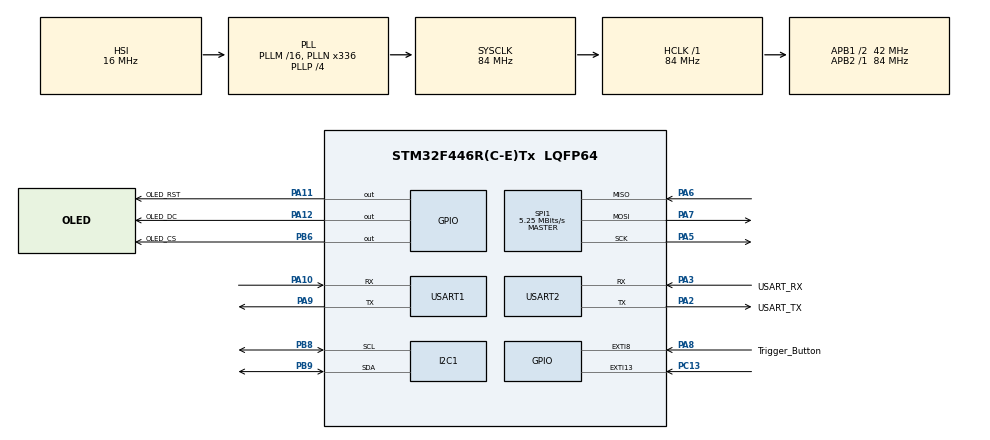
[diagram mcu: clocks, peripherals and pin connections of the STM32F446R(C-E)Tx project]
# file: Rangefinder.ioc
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I2C1.I2C_Mode=I2C_Fast
Mcu.Family=STM32F4
Mcu.Name=STM32F446R(C-E)Tx
Mcu.Package=LQFP64
NUCLEO-F446RE.BUTTON=1
NUCLEO-F446RE.LD1=true
NVIC.EXTI15_10_IRQn=true\:0\:0\:false\:false\:true\:true\:true\:true
NVIC.EXTI9_5_IRQn=true\:0\:0\:false\:false\:true\:true\:true\:true
NVIC.PriorityGroup=NVIC_PRIORITYGROUP_0
PA10.Mode=Asynchronous
PA10.Signal=USART1_RX
PA11.GPIO_Label=OLED_RST
PA11.Signal=GPIO_Output
PA12.GPIO_Label=OLED_DC
PA12.Signal=GPIO_Output
PA2.GPIO_Label=USART_TX
PA2.Mode=Asynchronous
PA2.Signal=USART2_TX
PA3.GPIO_Label=USART_RX
PA3.Mode=Asynchronous
PA3.Signal=USART2_RX
PA5.Mode=Full_Duplex_Master
PA5.Signal=SPI1_SCK
PA6.Mode=Full_Duplex_Master
PA6.Signal=SPI1_MISO
PA7.Mode=Full_Duplex_Master
PA7.Signal=SPI1_MOSI
PA8.GPIO_Label=Trigger_Button
PA8.GPIO_ModeDefaultEXTI=GPIO_MODE_IT_RISING_FALLING
PA8.GPIO_PuPd=GPIO_PULLUP
PA8.Signal=GPXTI8
PA9.Mode=Asynchronous
PA9.Signal=USART1_TX
PB6.GPIO_Label=OLED_CS
PB6.Signal=GPIO_Output
PB8.Mode=I2C
PB8.Signal=I2C1_SCL
PB9.Mode=I2C
PB9.Signal=I2C1_SDA
PC13.Signal=GPXTI13
PH0-OSC_IN.Mode=HSE-External-Oscillator
PH0-OSC_IN.Signal=RCC_OSC_IN
PH1-OSC_OUT.Mode=HSE-External-Oscillator
PH1-OSC_OUT.Signal=RCC_OSC_OUT
ProjectManager.HeapSize=0x200
ProjectManager.StackSize=0x400
ProjectManager.TargetToolchain=STM32CubeIDE
RCC.AHBFreq_Value=84000000
RCC.APB1CLKDivider=RCC_HCLK_DIV2
RCC.APB1Freq_Value=42000000
RCC.APB1TimFreq_Value=84000000
RCC.APB2Freq_Value=84000000
RCC.APB2TimFreq_Value=84000000
RCC.CortexFreq_Value=84000000
RCC.FLatency-AdvancedSettings=FLASH_LATENCY_2
RCC.HCLKFreq_Value=84000000
RCC.HSE_VALUE=8000000
RCC.HSI_VALUE=16000000
RCC.LSE_VALUE=32768
RCC.PLLN=336
RCC.PLLP=RCC_PLLP_DIV4
RCC.SYSCLKFreq_VALUE=84000000
RCC.SYSCLKSource=RCC_SYSCLKSOURCE_PLLCLK
RCC.USBFreq_Value=168000000
RCC.VCOOutputFreq_Value=336000000
SPI1.BaudRatePrescaler=SPI_BAUDRATEPRESCALER_16
SPI1.CLKPhase=SPI_PHASE_2EDGE
SPI1.CLKPolarity=SPI_POLARITY_HIGH
SPI1.CalculateBaudRate=5.25 MBits/s
SPI1.Direction=SPI_DIRECTION_2LINES
SPI1.Mode=SPI_MODE_MASTER
SPI1.VirtualType=VM_MASTER
USART1.VirtualMode=VM_ASYNC
USART2.VirtualMode=VM_ASYNC
VP_NUCLEO-F446RE_VS_BSP_COMMON.Mode=COMMON
board=NUCLEO-F446RE

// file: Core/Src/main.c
/* USER CODE BEGIN Header */
/**
  ******************************************************************************
  * @file           : main.c
  * @brief          : Main program body
  ******************************************************************************
  * @attention
  *
  * Copyright (c) 2026 STMicroelectronics.
  * All rights reserved.
  *
  * This software is licensed under terms that can be found in the LICENSE file
  * in the root directory of this software component.
  * If no LICENSE file comes with this software, it is provided AS-IS.
  *
  ******************************************************************************
  */
/* USER CODE END Header */
#include "main.h"

/* USER CODE BEGIN Includes */
#include "lidar.h"
#include <stdio.h>
#include <stdlib.h>
#include <string.h>
#include <math.h>

#include "test.h"
#include "ui_panels.h"
/* USER CODE END Includes */

/* USER CODE BEGIN PTD */

/* Channel order inside one sample of the flat record array (same as the MPU FIFO order).
   Sample i lives at rec[i * CH_COUNT + CH_AX] ... rec[i * CH_COUNT + CH_GZ]. */
enum { CH_AX, CH_AY, CH_AZ, CH_GX, CH_GY, CH_GZ, CH_COUNT };

/* Two-state Kalman filter for one angle: state = [angle (deg), gyro bias (deg/s)] */
typedef struct
{
    float angle;
    float bias;
    float P[2][2];
} kf_t;

/* Unit quaternion (w, x, y, z) */
typedef struct
{
    float w, x, y, z;
} Quaternion;

/* USER CODE END PTD */

/* USER CODE BEGIN PD */
#define MPU6050_ADDR          (0x68 << 1)   /* 7-bit address shifted left */
#define MPU6050_WHO_AM_I      0x75
#define MPU6050_PWR_MGMT_1    0x6B
#define MPU6050_USER_CTRL     0x6A
#define MPU6050_SMPLRT_DIV    0x19
#define MPU6050_CONFIG        0x1A
#define MPU6050_GYRO_CONFIG   0x1B
#define MPU6050_FIFO_EN       0x23
#define MPU6050_FIFO_COUNT_H  0x72
#define MPU6050_FIFO_R_W      0x74
#define MPU6050_ACCEL_XOUT_H  0x3B

/* Sample rate set by the MPU's own clock. Must divide 1000 (1000, 500, 250, 200, 100...).
   1000 Hz needs I2C at 400 kHz. At 100 kHz stay at 500 Hz or below. */
#define SAMPLE_RATE_HZ        1000
#if (1000 % SAMPLE_RATE_HZ) != 0
#error "SAMPLE_RATE_HZ must divide 1000"
#endif

#define MPU6050_DLPF_CFG      0x02          /* 0x01 = 184 Hz, 0x02 = 98 Hz, 0x03 = 42 Hz gyro bandwidth */
#define MPU6050_GYRO_FS       0x08          /* 0x00 = +-250, 0x08 = +-500, 0x10 = +-1000, 0x18 = +-2000 dps */
#define GYRO_LSB_PER_DPS      65.5f         /* 131 for +-250, 65.5 for +-500, 32.8 for +-1000, 16.4 for +-2000 */
#define ACCEL_LSB_PER_G       16384.0f      /* default +-2 g range */

#define FIFO_SAMPLE_BYTES     12            /* accel XYZ + gyro XYZ, 2 bytes each */
#define MAX_SAMPLES           3000          /* 3 s at 1 kHz = 36 KB of RAM */

#define RAD2DEG               57.2957795f

/* dt used for integration. 0 = 1 / SAMPLE_RATE_HZ (from the MPU clock, recommended for short holds).
   1 = press-to-release time divided by the sample count (only worthwhile for long holds, because
   the HAL tick is 1 ms and the window ends are only known to a few ms). */
#define USE_MEASURED_DT       0

#define Short_Press_Length	  250           //Length of User Interface Logic Press

/* Kalman filter tuning (all angles in degrees) */
#define KF_Q_ANGLE            0.002f        /* deg^2/s   : gyro angle noise. Larger = trust accel more */
#define KF_Q_BIAS             0.0001f       /* (deg/s)^2/s : how fast the gyro bias may wander */
#define KF_R_ANGLE            0.5f          /* deg^2     : accel angle noise. Larger = trust accel less */
#define KF_P0_ANGLE           0.1f          /* initial angle uncertainty, deg^2 */
#define KF_P0_BIAS            0.01f         /* initial bias uncertainty, (deg/s)^2 */
#define ACCEL_GATE_G          0.1f          /* skip accel correction when | |a| - 1 g | is larger than this */
#define INIT_SAMPLES          20            /* samples averaged to get the start orientation */
/* USER CODE END PD */

I2C_HandleTypeDef hi2c1;

SPI_HandleTypeDef hspi1;

UART_HandleTypeDef huart1;
UART_HandleTypeDef huart2;

/* USER CODE BEGIN PV */
int16_t ax, ay, az, gx, gy, gz, temp_raw;
int32_t off_ax, off_ay, off_az, off_gx, off_gy, off_gz;

//button trigger
volatile uint32_t last_edge_tick = 0;
volatile uint8_t  edge_flag = 0;
static GPIO_PinState last_state;
//MPU6050
static uint8_t mpu_ok = 0;        /* 1 = MPU6050_Init succeeded */
static uint8_t calibrated = 0;    /* 1 = offsets measured, recording allowed */
//recording (flat array: ax, ay, az, gx, gy, gz, ax, ay, ...)
static int16_t  rec[MAX_SAMPLES * CH_COUNT];
static uint32_t rec_n = 0;          /* samples stored so far */
static uint32_t last_drain = 0;     /* tick of the last FIFO drain */
static uint8_t  recording = 0;
static uint8_t  rec_error = 0;      /* I2C failure or FIFO overflow: data has a gap */
static uint8_t  rec_full = 0;       /* RAM buffer filled up: data truncated */
//time between button press and release
uint32_t press_tick = 0;            /* HAL tick when recording started */
uint32_t release_tick = 0;          /* HAL tick when the release was confirmed */
uint32_t hold_ms = 0;               /* release_tick - press_tick */
//results (global so they can be watched in the debugger)
float res_roll0 = 0, res_roll1 = 0;
float res_pitch0 = 0, res_pitch1 = 0;
float res_yaw = 0;                  /* change in yaw, gyro only */
float res_total_deg = 0;            /* single angle between the start and end orientations */
float deg_total_rad = 0;
float distanceAB = 0;
//LiDAR distances (sensor units, see lidar.c), one per button event
uint16_t dist_press = 0, dist_release = 0;
static uint8_t dist_press_ok = 0, dist_release_ok = 0;   /* 1 = a frame was available */
/* USER CODE END PV */

void SystemClock_Config(void);
static void MX_GPIO_Init(void);
static void MX_I2C1_Init(void);
static void MX_USART2_UART_Init(void);
static void MX_USART1_UART_Init(void);
static void MX_SPI1_Init(void);

/* USER CODE BEGIN 0 */

static HAL_StatusTypeDef mpu_write(uint8_t reg, uint8_t val)
{
    return HAL_I2C_Mem_Write(&hi2c1, MPU6050_ADDR, reg,
                             I2C_MEMADD_SIZE_8BIT, &val, 1, 100);
}

/* Returns 0 on success, 1 = no I2C response, 2 = wake-up failed, 3 = filter write failed,
   4 = sample-rate write failed, 5 = gyro-range write failed, 6 = FIFO setup failed */
uint8_t MPU6050_Init(void)
{
    uint8_t who = 0;

    if (HAL_I2C_Mem_Read(&hi2c1, MPU6050_ADDR, MPU6050_WHO_AM_I,
                         I2C_MEMADD_SIZE_8BIT, &who, 1, 100) != HAL_OK)
        return 1;

    /* Wake the sensor and clock it from the gyro PLL (more accurate than the internal RC) */
    if (mpu_write(MPU6050_PWR_MGMT_1, 0x01) != HAL_OK) return 2;
    HAL_Delay(100);   /* let the PLL and gyro settle */

    /* Digital low-pass filter. With it enabled the gyro output rate is 1 kHz */
    if (mpu_write(MPU6050_CONFIG, MPU6050_DLPF_CFG) != HAL_OK) return 3;

    /* Sample rate = 1000 / (1 + SMPLRT_DIV) */
    if (mpu_write(MPU6050_SMPLRT_DIV, (uint8_t)(1000 / SAMPLE_RATE_HZ - 1)) != HAL_OK) return 4;

    if (mpu_write(MPU6050_GYRO_CONFIG, MPU6050_GYRO_FS) != HAL_OK) return 5;

    /* FIFO contents: accel XYZ + gyro XYZ (0x78). Order in the FIFO follows register order. */
    if (mpu_write(MPU6050_FIFO_EN, 0x78) != HAL_OK) return 6;

    return 0;
}

HAL_StatusTypeDef MPU6050_ReadAll(void)
{
    uint8_t buf[14];

    HAL_StatusTypeDef st = HAL_I2C_Mem_Read(&hi2c1, MPU6050_ADDR,
                                            MPU6050_ACCEL_XOUT_H,
                                            I2C_MEMADD_SIZE_8BIT, buf, 14, 100);
    if (st != HAL_OK) return st;

    ax       = (int16_t)(buf[0]  << 8 | buf[1]);
    ay       = (int16_t)(buf[2]  << 8 | buf[3]);
    az       = (int16_t)(buf[4]  << 8 | buf[5]);
    temp_raw = (int16_t)(buf[6]  << 8 | buf[7]);
    gx       = (int16_t)(buf[8]  << 8 | buf[9]);
    gy       = (int16_t)(buf[10] << 8 | buf[11]);
    gz       = (int16_t)(buf[12] << 8 | buf[13]);
    return HAL_OK;
}

void MPU6050_Calibrate(void)
{
    int32_t sax = 0, say = 0, saz = 0, sgx = 0, sgy = 0, sgz = 0;
    const int N = 200;

    UI_Data_t cal = {0};
    UI_ShowPanel(UI_PANEL_BOOTING, &cal);               // bar at 0%

    for (int i = 0; i < N; i++)
    {
        while (MPU6050_ReadAll() != HAL_OK) { }
        sax += ax; say += ay; saz += az;
        sgx += gx; sgy += gy; sgz += gz;
        HAL_Delay(5);

        if (i % 20 == 19)                               // 10 updates over the run
        {
            cal.progress_pct = (uint8_t)(((i + 1) * 100) / N);
            UI_ShowPanel(UI_PANEL_BOOTING, &cal);
        }
    }

    off_ax = sax / N;
    off_ay = say / N;
    off_az = saz / N - 16384;   // assumes the board is flat, so Z should read 1 g
    off_gx = sgx / N;
    off_gy = sgy / N;
    off_gz = sgz / N;
}

/* Clear the MPU FIFO and start collecting samples at SAMPLE_RATE_HZ */
static void fifo_start(void)
{
    mpu_write(MPU6050_USER_CTRL, 0x04);   /* FIFO_RESET (only works while FIFO is disabled) */
    mpu_write(MPU6050_USER_CTRL, 0x40);   /* FIFO_EN */
}

/* The FIFO cannot be read while disabled, so drain it first, then call this */
static void fifo_stop(void)
{
    mpu_write(MPU6050_USER_CTRL, 0x00);
}

/* Move everything currently in the MPU FIFO into the flat rec[] array.
   The MPU's own clock spaces the samples exactly 1/SAMPLE_RATE_HZ apart, no matter
   when this runs. It only has to run before the 1024-byte FIFO fills (~85 ms at 1 kHz). */
static void fifo_drain(void)
{
    uint8_t cnt[2];

    if (rec_error || rec_full) return;

    if (HAL_I2C_Mem_Read(&hi2c1, MPU6050_ADDR, MPU6050_FIFO_COUNT_H,
                         I2C_MEMADD_SIZE_8BIT, cnt, 2, 20) != HAL_OK)
    {
        rec_error = 1;
        return;
    }

    uint16_t bytes = ((uint16_t)cnt[0] << 8) | cnt[1];
    if (bytes >= 1024)          /* FIFO overflowed: old data was overwritten */
    {
        rec_error = 1;
        return;
    }

    uint16_t n = bytes / FIFO_SAMPLE_BYTES;   /* whole samples only, a partial one stays for next time */
    while (n > 0)
    {
        if (rec_n >= MAX_SAMPLES)
        {
            rec_full = 1;
            return;
        }

        uint8_t buf[FIFO_SAMPLE_BYTES * 8];
        uint16_t chunk = (n > 8) ? 8 : n;

        if (HAL_I2C_Mem_Read(&hi2c1, MPU6050_ADDR, MPU6050_FIFO_R_W,
                             I2C_MEMADD_SIZE_8BIT, buf, chunk * FIFO_SAMPLE_BYTES, 50) != HAL_OK)
        {
            rec_error = 1;
            return;
        }

        for (uint16_t i = 0; i < chunk && rec_n < MAX_SAMPLES; i++)
        {
            const uint8_t *p = &buf[i * FIFO_SAMPLE_BYTES];
            int16_t *s = &rec[rec_n * CH_COUNT];
            for (uint8_t c = 0; c < CH_COUNT; c++)
            {
                s[c] = (int16_t)((p[2 * c] << 8) | p[2 * c + 1]);
            }
            rec_n++;
        }
        n -= chunk;
    }
}

/* ---- Kalman filter -------------------------------------------------------- */

static void kf_init(kf_t *k, float angle0)
{
    k->angle = angle0;
    k->bias = 0.0f;               /* gyro offsets are already removed by the calibration */
    k->P[0][0] = KF_P0_ANGLE;
    k->P[0][1] = 0.0f;
    k->P[1][0] = 0.0f;
    k->P[1][1] = KF_P0_BIAS;
}

/* Predict step. The gyro rate is integrated with the trapezoidal rule:
   angle += dt * ( (rate_prev + rate_cur) / 2 - bias ) */
static void kf_predict(kf_t *k, float rate_prev, float rate_cur, float dt)
{
    float u = 0.5f * (rate_prev + rate_cur);
    k->angle += dt * (u - k->bias);

    /* P = F P F' + Q, with F = [1 -dt; 0 1] */
    float P00 = k->P[0][0], P01 = k->P[0][1], P10 = k->P[1][0], P11 = k->P[1][1];
    k->P[0][0] = P00 - dt * (P01 + P10) + dt * dt * P11 + KF_Q_ANGLE * dt;
    k->P[0][1] = P01 - dt * P11;
    k->P[1][0] = P10 - dt * P11;
    k->P[1][1] = P11 + KF_Q_BIAS * dt;
}

/* Update step with an angle measured from the accelerometer (H = [1 0]) */
static void kf_update(kf_t *k, float meas_angle)
{
    float y = meas_angle - k->angle;
    if (y > 180.0f)       y -= 360.0f;     /* handle the +-180 degree wrap of atan2 */
    else if (y < -180.0f) y += 360.0f;

    float S  = k->P[0][0] + KF_R_ANGLE;
    float K0 = k->P[0][0] / S;
    float K1 = k->P[1][0] / S;

    k->angle += K0 * y;
    k->bias  += K1 * y;

    float P00 = k->P[0][0], P01 = k->P[0][1];
    k->P[0][0] -= K0 * P00;
    k->P[0][1] -= K0 * P01;
    k->P[1][0] -= K1 * P00;
    k->P[1][1] -= K1 * P01;
}

/* ---- Orientation change as a single angle (quaternions) ------------------- */

/* Intrinsic ZYX Euler angles (yaw about Z, pitch about Y, roll about X) to a quaternion */
static Quaternion euler_to_quaternion(float yaw_deg, float pitch_deg, float roll_deg)
{
    float r = roll_deg  * (0.5f / RAD2DEG);   /* half angles, in radians */
    float p = pitch_deg * (0.5f / RAD2DEG);
    float y = yaw_deg   * (0.5f / RAD2DEG);

    float cr = cosf(r), sr = sinf(r);
    float cp = cosf(p), sp = sinf(p);
    float cy = cosf(y), sy = sinf(y);

    Quaternion q;
    q.w = cr * cp * cy + sr * sp * sy;
    q.x = sr * cp * cy - cr * sp * sy;
    q.y = cr * sp * cy + sr * cp * sy;
    q.z = cr * cp * sy - sr * sp * cy;
    return q;
}

/* Conjugate (the inverse, for a unit quaternion) */
static Quaternion quaternion_conjugate(Quaternion q)
{
    Quaternion c = { q.w, -q.x, -q.y, -q.z };
    return c;
}

/* q = q1 * q2 */
static Quaternion quaternion_multiply(Quaternion q1, Quaternion q2)
{
    Quaternion q;
    q.w = q1.w * q2.w - q1.x * q2.x - q1.y * q2.y - q1.z * q2.z;
    q.x = q1.w * q2.x + q1.x * q2.w + q1.y * q2.z - q1.z * q2.y;
    q.y = q1.w * q2.y - q1.x * q2.z + q1.y * q2.w + q1.z * q2.x;
    q.z = q1.w * q2.z + q1.x * q2.y - q1.y * q2.x + q1.z * q2.w;
    return q;
}

/* Total rotation angle in degrees between two orientations: the angle of q1^-1 * q2 */
static float calculate_angle_change(float yaw1, float pitch1, float roll1,
                                    float yaw2, float pitch2, float roll2)
{
    Quaternion q1 = euler_to_quaternion(yaw1, pitch1, roll1);
    Quaternion q2 = euler_to_quaternion(yaw2, pitch2, roll2);
    Quaternion d  = quaternion_multiply(quaternion_conjugate(q1), q2);

    /* 2 * atan2(|vector part|, |w|) gives the same angle as 2 * acos(|w|), but acos loses
       precision for small angles in 32-bit float. No clamping of w is needed either. */
    float v = sqrtf(d.x * d.x + d.y * d.y + d.z * d.z);
    return 2.0f * atan2f(v, fabsf(d.w)) * RAD2DEG;
}

/* Runs the filter over the whole recording and fills the res_* variables.
   Roll (about X) and pitch (about Y): gyro prediction + accelerometer correction.
   Yaw (about Z): gyro only, gravity gives no yaw reference. */
static void estimate_angles(void)
{
    float dt = 1.0f / SAMPLE_RATE_HZ;
#if USE_MEASURED_DT
    if (!rec_full && hold_ms > 0)
    {
        dt = ((float)hold_ms / 1000.0f) / (float)rec_n;
    }
#endif

    const float gk = 1.0f / GYRO_LSB_PER_DPS;     /* raw -> deg/s */
    const float ak = 1.0f / ACCEL_LSB_PER_G;      /* raw -> g */

    /* Start orientation: average the accelerometer over the first few samples */
    uint32_t n0 = (rec_n < INIT_SAMPLES) ? rec_n : INIT_SAMPLES;
    float sx = 0.0f, sy = 0.0f, sz = 0.0f;
    for (uint32_t i = 0; i < n0; i++)
    {
        const int16_t *s = &rec[i * CH_COUNT];
        sx += (float)(s[CH_AX] - off_ax);
        sy += (float)(s[CH_AY] - off_ay);
        sz += (float)(s[CH_AZ] - off_az);
    }
    sx /= (float)n0; sy /= (float)n0; sz /= (float)n0;

    float roll0  = atan2f(sy, sz) * RAD2DEG;
    float pitch0 = atan2f(-sx, sqrtf(sy * sy + sz * sz)) * RAD2DEG;

    kf_t kr, kp;
    kf_init(&kr, roll0);
    kf_init(&kp, pitch0);
    float yaw = 0.0f;

    /* Rates of the previous sample (needed for the trapezoid). Sample 0 is the start state. */
    const int16_t *s0 = &rec[0];
    float gx_prev = (float)(s0[CH_GX] - off_gx) * gk;
    float gy_prev = (float)(s0[CH_GY] - off_gy) * gk;
    float gz_prev = (float)(s0[CH_GZ] - off_gz) * gk;

    for (uint32_t i = 1; i < rec_n; i++)
    {
        const int16_t *s = &rec[i * CH_COUNT];

        float gxr = (float)(s[CH_GX] - off_gx) * gk;
        float gyr = (float)(s[CH_GY] - off_gy) * gk;
        float gzr = (float)(s[CH_GZ] - off_gz) * gk;

        /* Predict: trapezoidal integration of the gyro */
        kf_predict(&kr, gx_prev, gxr, dt);
        kf_predict(&kp, gy_prev, gyr, dt);
        yaw += 0.5f * (gz_prev + gzr) * dt;

        /* Correct: only when the board is not accelerating (|a| close to 1 g) */
        float axg = (float)(s[CH_AX] - off_ax) * ak;
        float ayg = (float)(s[CH_AY] - off_ay) * ak;
        float azg = (float)(s[CH_AZ] - off_az) * ak;
        float amag = sqrtf(axg * axg + ayg * ayg + azg * azg);

        if (fabsf(amag - 1.0f) < ACCEL_GATE_G)
        {
            kf_update(&kr, atan2f(ayg, azg) * RAD2DEG);
            kf_update(&kp, atan2f(-axg, sqrtf(ayg * ayg + azg * azg)) * RAD2DEG);
        }

        gx_prev = gxr;
        gy_prev = gyr;
        gz_prev = gzr;
    }

    res_roll0  = roll0;
    res_roll1  = kr.angle;
    res_pitch0 = pitch0;
    res_pitch1 = kp.angle;
    res_yaw    = yaw;

    /* Start orientation: yaw 0 (yaw is relative), end orientation: filtered roll/pitch + yaw change */

    float yaw_end = yaw;
    res_total_deg = calculate_angle_change(0.0f, res_pitch0, res_roll0,
                                           yaw_end, res_pitch1, res_roll1);
}

/* Prints a float as degrees with 2 decimals (nano newlib has no %f) */
static void fmt_deg(char *out, size_t n, float deg)
{
    long c = (long)(deg * 100.0f);   // centi-degrees
    snprintf(out, n, "%s%ld.%02ld", (c < 0) ? "-" : "", labs(c) / 100, labs(c) % 100);
}

static void distanceAB_calc(unsigned dist_press, unsigned dist_release, float res_total_deg)
{
	deg_total_rad = res_total_deg * (3.141592653589793 / 180);
	distanceAB = sqrt(pow(dist_press, 2) + pow(dist_release, 2) - (2 * dist_press * dist_release * cos(deg_total_rad)));
//    long c = (long)(deg * 100.0f);   // centi-degrees
//    snprintf(out, n, "%s%ld.%02ld", (c < 0) ? "-" : "", labs(c) / 100, labs(c) % 100);
}

/* Prints the two LiDAR distances captured at press and release */
/* Prints LiDAR distance(s). press_type: 0 = short press, 1 = long press */
/* Prints LiDAR distance(s). press_type: 0 = short press, 1 = long press */
static void report_distance(int press_type)
{
    char buf[128];
    int len = 0;

    if (press_type == 0)   // Short press: press distance only
    {
        if (dist_press_ok)
        {
        	UI_Data_t ui = {0};
			ui.distance_cm = (int32_t)dist_press;
			UI_ShowPanel(UI_PANEL_DIST_TARGET, &ui);

			len = snprintf(buf, sizeof(buf), "Distance:%u cm\r\n", (unsigned)dist_press);
        }
        else
            len = snprintf(buf, sizeof(buf), "LiDAR: no frame\r\n");
    }
    else if (press_type == 1)   // Long press: both distances
    {
        if (dist_press_ok && dist_release_ok)
        {
            //
            char a[16]; //, b[16], c[16];

            if (rec_error)
            {
                len = snprintf(buf, sizeof(buf), "ERROR: FIFO overflow or I2C failure, recording invalid\r\n");
                HAL_UART_Transmit(&huart2, (uint8_t*)buf, len, 100);
                return;
            }

            if (rec_n < 2)
            {
                len = snprintf(buf, sizeof(buf), "Recording too short (%lu samples)\r\n", (unsigned long)rec_n);
                HAL_UART_Transmit(&huart2, (uint8_t*)buf, len, 100);
                return;
            }

            estimate_angles();

        //    len = snprintf(buf, sizeof(buf), "Hold:%lu ms  Samples:%lu (%lu ms at %d Hz)%s\r\n",
        //                   (unsigned long)hold_ms,
        //                   (unsigned long)rec_n,
        //                   (unsigned long)(rec_n * 1000UL / SAMPLE_RATE_HZ),
        //                   SAMPLE_RATE_HZ,
        //                   rec_full ? "  BUFFER FULL, truncated" : "");
        //    HAL_UART_Transmit(&huart2, (uint8_t*)buf, len, 100);
        //
        //    fmt_deg(a, sizeof(a), res_roll0);
        //    fmt_deg(b, sizeof(b), res_roll1);
        //    fmt_deg(c, sizeof(c), res_roll1 - res_roll0);
        //    len = snprintf(buf, sizeof(buf), "Roll  start:%s end:%s delta:%s deg\r\n", a, b, c);
        //    HAL_UART_Transmit(&huart2, (uint8_t*)buf, len, 100);
        //
        //    fmt_deg(a, sizeof(a), res_pitch0);
        //    fmt_deg(b, sizeof(b), res_pitch1);
        //    fmt_deg(c, sizeof(c), res_pitch1 - res_pitch0);
        //    len = snprintf(buf, sizeof(buf), "Pitch start:%s end:%s delta:%s deg\r\n", a, b, c);
        //    HAL_UART_Transmit(&huart2, (uint8_t*)buf, len, 100);
        //
        //    fmt_deg(a, sizeof(a), res_yaw);
        //    len = snprintf(buf, sizeof(buf), "Yaw   delta:%s deg (gyro only)\r\n", a);
        //    HAL_UART_Transmit(&huart2, (uint8_t*)buf, len, 100);

            fmt_deg(a, sizeof(a), res_total_deg);
            distanceAB_calc(dist_press, dist_release, res_total_deg);

            UI_Data_t ui = {0};
            ui.target_a_cm = (int32_t)dist_press;
            ui.target_b_cm = (int32_t)dist_release;
            ui.between_cm  = (int32_t)(distanceAB + 0.5f);   // +0.5 rounds instead of cutting off
            UI_ShowPanel(UI_PANEL_DIST_BETWEEN, &ui);

			len = snprintf(buf, sizeof(buf), "Angle Change: %s deg\r\n", a);
            HAL_UART_Transmit(&huart2, (uint8_t*)buf, len, 100);

            len = snprintf(buf, sizeof(buf), "Distance from A to B: %u cm\r\nDistance A: %u cm\r\nDistance B: %u cm\r\n",
                           (unsigned)distanceAB, (unsigned)dist_press, (unsigned)dist_release);
        }
        else
            len = snprintf(buf, sizeof(buf), "LiDAR: no frames received\r\n");
    }

    if (len > 0)
        HAL_UART_Transmit(&huart2, (uint8_t*)buf, len, 100);
}

/* USER CODE END 0 */

int main(void)
{

  /* MCU Configuration--------------------------------------------------------*/

  /* Reset of all peripherals, Initializes the Flash interface and the Systick. */
  HAL_Init();

  /* Configure the system clock */
  SystemClock_Config();

  /* Initialize all configured peripherals */
  MX_GPIO_Init();
  MX_I2C1_Init();
  MX_USART2_UART_Init();
  MX_USART1_UART_Init();
  MX_SPI1_Init();
  /* USER CODE BEGIN 2 */
  //UI_Test_Cycle();   /* TEMP: cycles all 9 UI panels forever; replace with the real state machine */
  UI_Init();
  //UI_Data_t = {0};
  UI_ShowPanel(UI_PANEL_AGAIN, NULL);
  HAL_Delay(5000);

  UI_ShowPanel(UI_PANEL_BOOTING, NULL);   // prompt text with an empty bar

  //Trigger Button
  last_state = HAL_GPIO_ReadPin(Trigger_Button_GPIO_Port, Trigger_Button_Pin);
  //LiDAR (USART1 receive interrupt)
  lidar_init();

  //MPU6050
  uint8_t status = MPU6050_Init();
  if (status != 0)
  {
      char err[32];
      int n = snprintf(err, sizeof(err), "MPU init failed: %d\r\n", status);
      HAL_UART_Transmit(&huart2, (uint8_t*)err, n, 100);
  }
  else
  {
      mpu_ok = 1;

      char rdy[] = "Press the button to calibrate (keep the board flat and still).\r\n";
      HAL_UART_Transmit(&huart2, (uint8_t*)rdy, sizeof(rdy) - 1, 100);
  }
  /* USER CODE END 2 */

  /* Initialize leds */
  //BSP_LED_Init(LED2);

  /* Initialize USER push-button, will be used to trigger an interrupt each time it's pressed.*/
  //BSP_PB_Init(BUTTON_USER, BUTTON_MODE_EXTI);

  /* Infinite loop */
  /* USER CODE BEGIN WHILE */
  HAL_SPI_MspInit(&hspi1);   // BSP_LED_Init took PA5 (SCK) away from SPI1; give it back
  while (1)
  {
    /* USER CODE END WHILE */

    /* USER CODE BEGIN 3 */
    // While recording, empty the MPU FIFO every 5 ms (it holds ~85 ms at 1 kHz).
    if (recording && (HAL_GetTick() - last_drain) >= 5)
    {
        last_drain = HAL_GetTick();
        fifo_drain();
    }

    if (edge_flag && (HAL_GetTick() - last_edge_tick) >= 20)  // 20 ms settle time
    {
        edge_flag = 0;
        GPIO_PinState state = HAL_GPIO_ReadPin(Trigger_Button_GPIO_Port, Trigger_Button_Pin);

        if (state != last_state)   // real change, not just bounce
        {
            last_state = state;

            if (state == GPIO_PIN_RESET)
            {
            	if (!calibrated)
            	    {
            	        // FIRST press: calibrate instead of recording
            	        if (!mpu_ok)
            	        {
            	            HAL_UART_Transmit(&huart2, (uint8_t*)"MPU not ready\r\n", 15, 100);
            	        }
            	        else
            	        {
            	            HAL_UART_Transmit(&huart2, (uint8_t*)"Calibrating, keep still...\r\n", 28, 100);
            	            HAL_Delay(300);                 // let the board settle after the click
            	            MPU6050_Calibrate();            // ~1 s
            	            calibrated = 1;

            	            edge_flag = 0;                  // forget any bounce or release seen during calibration
            	            last_state = HAL_GPIO_ReadPin(Trigger_Button_GPIO_Port, Trigger_Button_Pin);

            	            UI_ShowPanel(UI_PANEL_READY, NULL);
            	            HAL_UART_Transmit(&huart2, (uint8_t*)"Calibrated. Hold the button to record.\r\n", 40, 100);
            	        }
            	    }
            	else
            	{
					// FALLING edge: button pressed (active low) -> start recording
					dist_press_ok = lidar_get_distance(&dist_press);   // LiDAR reading at press
					rec_n = 0;
					rec_error = 0;
					rec_full = 0;
					fifo_start();
					press_tick = HAL_GetTick();
					last_drain = press_tick;
					recording = 1;

					UI_ShowPanel(UI_PANEL_CROSSHAIR_TWO, NULL);

					char msg[] = "\n\n\n\nRecording...\r\n";
					HAL_UART_Transmit(&huart2, (uint8_t*)msg, sizeof(msg) - 1, 100);
            	}
            }
            else if (recording)
            {
                // RISING edge: button released get timing
                release_tick = HAL_GetTick();
                hold_ms = release_tick - press_tick;
                fifo_drain();
                fifo_stop();
                recording = 0;

                if (hold_ms <= Short_Press_Length)
                {
                    // SHORT: 1 target (press only)
                    dist_release_ok = 0;        // no release reading, don't print stale one
                    report_distance(0);
                }
                else
                {
                    // LONG: 2 targets + AB distance + angle change
                    dist_release_ok = lidar_get_distance(&dist_release);
                    //report_recording();
                    report_distance(1);
                }
            }
        }
    }
  }
  /* USER CODE END 3 */
}

void SystemClock_Config(void)
{
  RCC_OscInitTypeDef RCC_OscInitStruct = {0};
  RCC_ClkInitTypeDef RCC_ClkInitStruct = {0};

  /** Configure the main internal regulator output voltage
  */
  __HAL_RCC_PWR_CLK_ENABLE();
  __HAL_PWR_VOLTAGESCALING_CONFIG(PWR_REGULATOR_VOLTAGE_SCALE3);

  /** Initializes the RCC Oscillators according to the specified parameters
  * in the RCC_OscInitTypeDef structure.
  */
  RCC_OscInitStruct.OscillatorType = RCC_OSCILLATORTYPE_HSI;
  RCC_OscInitStruct.HSIState = RCC_HSI_ON;
  RCC_OscInitStruct.HSICalibrationValue = RCC_HSICALIBRATION_DEFAULT;
  RCC_OscInitStruct.PLL.PLLState = RCC_PLL_ON;
  RCC_OscInitStruct.PLL.PLLSource = RCC_PLLSOURCE_HSI;
  RCC_OscInitStruct.PLL.PLLM = 16;
  RCC_OscInitStruct.PLL.PLLN = 336;
  RCC_OscInitStruct.PLL.PLLP = RCC_PLLP_DIV4;
  RCC_OscInitStruct.PLL.PLLQ = 2;
  RCC_OscInitStruct.PLL.PLLR = 2;
  if (HAL_RCC_OscConfig(&RCC_OscInitStruct) != HAL_OK)
  {
    Error_Handler();
  }

  /** Initializes the CPU, AHB and APB buses clocks
  */
  RCC_ClkInitStruct.ClockType = RCC_CLOCKTYPE_HCLK|RCC_CLOCKTYPE_SYSCLK
                              |RCC_CLOCKTYPE_PCLK1|RCC_CLOCKTYPE_PCLK2;
  RCC_ClkInitStruct.SYSCLKSource = RCC_SYSCLKSOURCE_PLLCLK;
  RCC_ClkInitStruct.AHBCLKDivider = RCC_SYSCLK_DIV1;
  RCC_ClkInitStruct.APB1CLKDivider = RCC_HCLK_DIV2;
  RCC_ClkInitStruct.APB2CLKDivider = RCC_HCLK_DIV1;

  if (HAL_RCC_ClockConfig(&RCC_ClkInitStruct, FLASH_LATENCY_2) != HAL_OK)
  {
    Error_Handler();
  }
}

static void MX_I2C1_Init(void)
{

  hi2c1.Instance = I2C1;
  hi2c1.Init.ClockSpeed = 400000;
  hi2c1.Init.DutyCycle = I2C_DUTYCYCLE_2;
  hi2c1.Init.OwnAddress1 = 0;
  hi2c1.Init.AddressingMode = I2C_ADDRESSINGMODE_7BIT;
  hi2c1.Init.DualAddressMode = I2C_DUALADDRESS_DISABLE;
  hi2c1.Init.OwnAddress2 = 0;
  hi2c1.Init.GeneralCallMode = I2C_GENERALCALL_DISABLE;
  hi2c1.Init.NoStretchMode = I2C_NOSTRETCH_DISABLE;
  if (HAL_I2C_Init(&hi2c1) != HAL_OK)
  {
    Error_Handler();
  }

}

static void MX_SPI1_Init(void)
{

  /* SPI1 parameter configuration*/
  hspi1.Instance = SPI1;
  hspi1.Init.Mode = SPI_MODE_MASTER;
  hspi1.Init.Direction = SPI_DIRECTION_2LINES;
  hspi1.Init.DataSize = SPI_DATASIZE_8BIT;
  hspi1.Init.CLKPolarity = SPI_POLARITY_HIGH;
  hspi1.Init.CLKPhase = SPI_PHASE_2EDGE;
  hspi1.Init.NSS = SPI_NSS_SOFT;
  hspi1.Init.BaudRatePrescaler = SPI_BAUDRATEPRESCALER_16;
  hspi1.Init.FirstBit = SPI_FIRSTBIT_MSB;
  hspi1.Init.TIMode = SPI_TIMODE_DISABLE;
  hspi1.Init.CRCCalculation = SPI_CRCCALCULATION_DISABLE;
  hspi1.Init.CRCPolynomial = 10;
  if (HAL_SPI_Init(&hspi1) != HAL_OK)
  {
    Error_Handler();
  }

}

static void MX_USART1_UART_Init(void)
{

  huart1.Instance = USART1;
  huart1.Init.BaudRate = 115200;
  huart1.Init.WordLength = UART_WORDLENGTH_8B;
  huart1.Init.StopBits = UART_STOPBITS_1;
  huart1.Init.Parity = UART_PARITY_NONE;
  huart1.Init.Mode = UART_MODE_TX_RX;
  huart1.Init.HwFlowCtl = UART_HWCONTROL_NONE;
  huart1.Init.OverSampling = UART_OVERSAMPLING_16;
  if (HAL_UART_Init(&huart1) != HAL_OK)
  {
    Error_Handler();
  }

}

static void MX_USART2_UART_Init(void)
{

  huart2.Instance = USART2;
  huart2.Init.BaudRate = 115200;
  huart2.Init.WordLength = UART_WORDLENGTH_8B;
  huart2.Init.StopBits = UART_STOPBITS_1;
  huart2.Init.Parity = UART_PARITY_NONE;
  huart2.Init.Mode = UART_MODE_TX_RX;
  huart2.Init.HwFlowCtl = UART_HWCONTROL_NONE;
  huart2.Init.OverSampling = UART_OVERSAMPLING_16;
  if (HAL_UART_Init(&huart2) != HAL_OK)
  {
    Error_Handler();
  }

}

static void MX_GPIO_Init(void)
{
  GPIO_InitTypeDef GPIO_InitStruct = {0};

  /* GPIO Ports Clock Enable */
  __HAL_RCC_GPIOH_CLK_ENABLE();
  __HAL_RCC_GPIOA_CLK_ENABLE();
  __HAL_RCC_GPIOB_CLK_ENABLE();

  /*Configure GPIO pin Output Level */
  HAL_GPIO_WritePin(GPIOA, OLED_RST_Pin|OLED_DC_Pin, GPIO_PIN_RESET);

  /*Configure GPIO pin Output Level */
  HAL_GPIO_WritePin(OLED_CS_GPIO_Port, OLED_CS_Pin, GPIO_PIN_RESET);

  /*Configure GPIO pin : Trigger_Button_Pin */
  GPIO_InitStruct.Pin = Trigger_Button_Pin;
  GPIO_InitStruct.Mode = GPIO_MODE_IT_RISING_FALLING;
  GPIO_InitStruct.Pull = GPIO_PULLUP;
  HAL_GPIO_Init(Trigger_Button_GPIO_Port, &GPIO_InitStruct);

  /*Configure GPIO pins : OLED_RST_Pin OLED_DC_Pin */
  GPIO_InitStruct.Pin = OLED_RST_Pin|OLED_DC_Pin;
  GPIO_InitStruct.Mode = GPIO_MODE_OUTPUT_PP;
  GPIO_InitStruct.Pull = GPIO_NOPULL;
  GPIO_InitStruct.Speed = GPIO_SPEED_FREQ_LOW;
  HAL_GPIO_Init(GPIOA, &GPIO_InitStruct);

  /*Configure GPIO pin : OLED_CS_Pin */
  GPIO_InitStruct.Pin = OLED_CS_Pin;
  GPIO_InitStruct.Mode = GPIO_MODE_OUTPUT_PP;
  GPIO_InitStruct.Pull = GPIO_NOPULL;
  GPIO_InitStruct.Speed = GPIO_SPEED_FREQ_LOW;
  HAL_GPIO_Init(OLED_CS_GPIO_Port, &GPIO_InitStruct);

  /* EXTI interrupt init*/
  HAL_NVIC_SetPriority(EXTI9_5_IRQn, 0, 0);
  HAL_NVIC_EnableIRQ(EXTI9_5_IRQn);

}

/* USER CODE BEGIN 4 */
//Button Trigger
void HAL_GPIO_EXTI_Callback(uint16_t GPIO_Pin)
{
    if (GPIO_Pin == Trigger_Button_Pin)
    {
        last_edge_tick = HAL_GetTick();
        edge_flag = 1;
    }
}
/* USER CODE END 4 */

void Error_Handler(void)
{
  __disable_irq();
  while (1)
  {
  }
}
